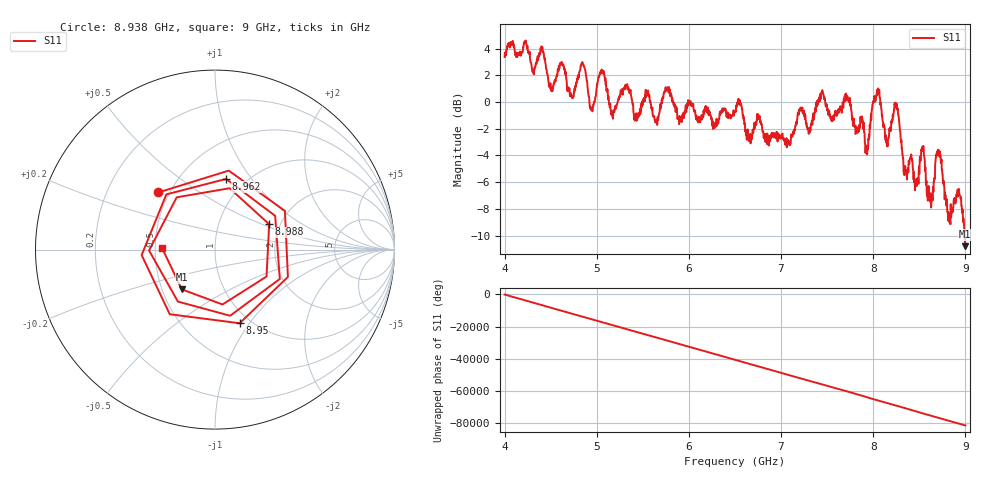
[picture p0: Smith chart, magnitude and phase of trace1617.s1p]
! Created with skrf 1.8.0 (http://scikit-rf.org).
# Hz S RI R 50.0
!freq ReS11 ImS11
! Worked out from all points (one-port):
!   1601 points, 4 GHz to 9 GHz, reference 50 ohm
!   lowest |S11| = -10.8 dB at 8.997 GHz (marker M1), VSWR 1.81, Z = 31.5 - j15.2 ohm
!   |S11| at or under -10 dB: 8.992489 GHz to end of sweep
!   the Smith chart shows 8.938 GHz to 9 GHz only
!   S11 on the Smith chart (normalised r, x): 8.938 GHz: 0.44, +0.35; 8.95 GHz: 0.89, -0.90; 8.962 GHz: 0.81, +0.76; 8.988 GHz: 1.75, +0.56; 9 GHz: 0.54, +0.01
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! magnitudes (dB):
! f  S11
! 4 GHz  3.4
! 4.625 GHz  2.8
! 4.731 GHz  0.3
! 4.853 GHz  2.8
! 4.944 GHz  -0.5
! 5.056 GHz  2.4
! 5.166 GHz  -0.8
! 5.25 GHz  0.4
! 5.875 GHz  -1.3
! 6.5 GHz  -0.8
! 7.125 GHz  -2.6
! 7.438 GHz  0.7
! 7.75 GHz  -0.2
! 7.934 GHz  -3.9
! 8.038 GHz  0.6
! 8.147 GHz  -2.9
! 8.25 GHz  -0.4
! 8.375 GHz  -5.3
! 8.534 GHz  -3.3
! 8.619 GHz  -7.0
! 8.706 GHz  -3.8
! 8.812 GHz  -8.9
! 8.938 GHz  -7.0
! 8.95 GHz  -7.3
! 8.962 GHz  -8.0
! 8.988 GHz  -9.5
! 8.997 GHz  -10.8
! 9 GHz  -10.6
